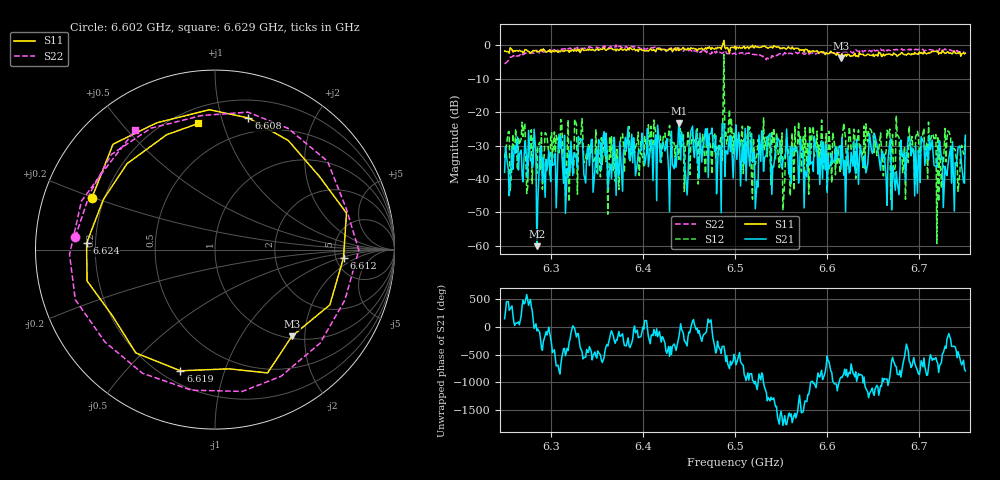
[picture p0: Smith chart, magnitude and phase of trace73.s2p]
# Hz S RI R 50
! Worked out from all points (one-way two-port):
!   401 points, 6.25 GHz to 6.75 GHz, reference 50 ohm
!   highest |S21| = -23.33 dB at 6.439 GHz (marker M1); lowest = -60.1 dB at 6.285 GHz (marker M2)
!   lowest |S11| = -3.8 dB at 6.615 GHz (marker M3), VSWR 4.64, Z = 52.1 - j86.2 ohm
!   |S11| at or under -10 dB: nowhere
!   |S22| runs from -5.5 to 0.0 dB; largest |S21 - S12| = 0.68
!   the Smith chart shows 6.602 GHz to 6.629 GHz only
!   S11 on the Smith chart (normalised r, x): 6.602 GHz: 0.15, +0.20; 6.608 GHz: 0.36, +1.22; 6.612 GHz: 5.87, -1.09; 6.619 GHz: 0.27, -0.72; 6.624 GHz: 0.17, +0.02; 6.629 GHz: 0.29, +0.83
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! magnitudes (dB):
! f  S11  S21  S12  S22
! 6.25 GHz  -1.7  -38.0  -33.7  -5.5
! 6.285 GHz  -2.0  -60.1  -38.3  -1.6
! 6.31 GHz  -2.0  -30.9  -29.8  -1.5
! 6.322 GHz  -1.7  -28.7  -35.0  -1.2
! 6.334 GHz  -1.1  -28.1  -22.0  -0.9
! 6.418 GHz  -1.3  -29.4  -27.1  -0.8
! 6.439 GHz  -1.6  -23.3  -34.1  -0.8
! 6.5 GHz  -0.3  -29.3  -28.9  -2.4
! 6.561 GHz  -1.1  -41.4  -34.2  -2.4
! 6.584 GHz  -1.7  -34.8  -25.3  -2.3
! 6.602 GHz  -2.6  -37.0  -25.7  -2.1
! 6.608 GHz  -2.4  -35.2  -29.5  -2.5
! 6.612 GHz  -2.9  -30.7  -30.9  -2.3
! 6.615 GHz  -3.8  -37.1  -32.2  -2.2
! 6.619 GHz  -3.1  -34.4  -25.7  -1.9
! 6.624 GHz  -2.9  -38.2  -24.5  -1.7
! 6.629 GHz  -3.0  -28.7  -25.1  -1.9
! 6.668 GHz  -2.7  -28.7  -25.1  -1.6
! 6.715 GHz  -1.9  -32.5  -26.8  -1.6
! 6.721 GHz  -2.6  -30.2  -46.7  -1.6
! 6.73 GHz  -2.1  -39.0  -27.9  -1.4
! 6.75 GHz  -2.4  -26.9  -27.0  -2.3
